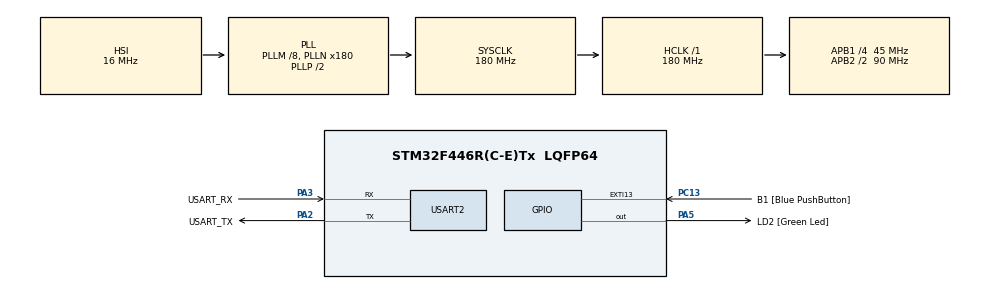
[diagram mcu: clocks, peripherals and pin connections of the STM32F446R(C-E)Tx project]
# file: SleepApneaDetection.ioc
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Mcu.Family=STM32F4
Mcu.Name=STM32F446R(C-E)Tx
Mcu.Package=LQFP64
NVIC.PriorityGroup=NVIC_PRIORITYGROUP_0
PA13.GPIO_Label=TMS
PA13.Mode=Serial_Wire
PA13.Signal=SYS_JTMS-SWDIO
PA14.GPIO_Label=TCK
PA14.Mode=Serial_Wire
PA14.Signal=SYS_JTCK-SWCLK
PA2.GPIO_Label=USART_TX
PA2.Mode=Asynchronous
PA2.Signal=USART2_TX
PA3.GPIO_Label=USART_RX
PA3.Mode=Asynchronous
PA3.Signal=USART2_RX
PA5.GPIO_Label=LD2 [Green Led]
PA5.Signal=GPIO_Output
PB3.GPIO_Label=SWO
PB3.Signal=SYS_JTDO-SWO
PC13.GPIO_Label=B1 [Blue PushButton]
PC13.GPIO_ModeDefaultEXTI=GPIO_MODE_IT_FALLING
PC13.Signal=GPXTI13
PC14-OSC32_IN.Mode=LSE-External-Oscillator
PC14-OSC32_IN.Signal=RCC_OSC32_IN
PC15-OSC32_OUT.Mode=LSE-External-Oscillator
PC15-OSC32_OUT.Signal=RCC_OSC32_OUT
PH0-OSC_IN.Mode=HSE-External-Oscillator
PH0-OSC_IN.Signal=RCC_OSC_IN
PH1-OSC_OUT.Mode=HSE-External-Oscillator
PH1-OSC_OUT.Signal=RCC_OSC_OUT
ProjectManager.HeapSize=0x800
ProjectManager.StackSize=0x800
ProjectManager.TargetToolchain=STM32CubeIDE
RCC.48MHZClocksFreq_Value=84000000
RCC.AHBFreq_Value=180000000
RCC.APB1CLKDivider=RCC_HCLK_DIV4
RCC.APB1Freq_Value=45000000
RCC.APB1TimFreq_Value=90000000
RCC.APB2CLKDivider=RCC_HCLK_DIV2
RCC.APB2Freq_Value=90000000
RCC.APB2TimFreq_Value=180000000
RCC.CortexFreq_Value=180000000
RCC.FLatency-AdvancedSettings=FLASH_LATENCY_5
RCC.HCLKFreq_Value=180000000
RCC.HSE_VALUE=8000000
RCC.HSI_VALUE=16000000
RCC.PLLM=8
RCC.PLLN=180
RCC.PLLP=2
RCC.SYSCLKFreq_VALUE=180000000
RCC.SYSCLKSource=RCC_SYSCLKSOURCE_PLLCLK
RCC.USBFreq_Value=180000000
RCC.VCOOutputFreq_Value=360000000
STMicroelectronics.X-CUBE-AI.10.2.0.ActivationBufferSizeList=51952
STMicroelectronics.X-CUBE-AI.10.2.0.ActivationBuffers=pool0
STMicroelectronics.X-CUBE-AI.10.2.0.ActivationNames=pool0
STMicroelectronics.X-CUBE-AI.10.2.0.ActivationSizes=AI_NETWORK_DATA_ACTIVATION_1_SIZE
STMicroelectronics.X-CUBE-AI.10.2.0.ApplicationCcDeviceJjApplication=SystemPerformance
STMicroelectronics.X-CUBE-AI.10.2.0.BSP.number=1
STMicroelectronics.X-CUBE-AI.10.2.0.HeapSize=0x800
STMicroelectronics.X-CUBE-AI.10.2.0.InternalRamActivationBufferMaxSize=AI_NETWORK_DATA_ACTIVATIONS_SIZE
STMicroelectronics.X-CUBE-AI.10.2.0.LatestDirectoryUsed-46ed0ca420dc52d179453e09e3f3c390de40700d0b52739a6311d1eca2d4f00f=E\:\\EmbeddedWork\\saved_models
STMicroelectronics.X-CUBE-AI.10.2.0.MaximumNumberOfInputLayer=1
STMicroelectronics.X-CUBE-AI.10.2.0.MaximumNumberOfOutputLayer=1
STMicroelectronics.X-CUBE-AI.10.2.0.MaximumSizeOfInputLayer=1
STMicroelectronics.X-CUBE-AI.10.2.0.MaximumSizeOfOutputLayer=1
STMicroelectronics.X-CUBE-AI.10.2.0.ModelActualCompression-46ed0ca420dc52d179453e09e3f3c390de40700d0b52739a6311d1eca2d4f00f=0.0
STMicroelectronics.X-CUBE-AI.10.2.0.ModelCompression-46ed0ca420dc52d179453e09e3f3c390de40700d0b52739a6311d1eca2d4f00f=None
STMicroelectronics.X-CUBE-AI.10.2.0.ModelFlashOccupation-46ed0ca420dc52d179453e09e3f3c390de40700d0b52739a6311d1eca2d4f00f=32284
STMicroelectronics.X-CUBE-AI.10.2.0.ModelHashList=46ed0ca420dc52d179453e09e3f3c390de40700d0b52739a6311d1eca2d4f00f
STMicroelectronics.X-CUBE-AI.10.2.0.ModelKind-46ed0ca420dc52d179453e09e3f3c390de40700d0b52739a6311d1eca2d4f00f=KERAS
STMicroelectronics.X-CUBE-AI.10.2.0.ModelMacc-46ed0ca420dc52d179453e09e3f3c390de40700d0b52739a6311d1eca2d4f00f=1021987
STMicroelectronics.X-CUBE-AI.10.2.0.ModelName-46ed0ca420dc52d179453e09e3f3c390de40700d0b52739a6311d1eca2d4f00f=network
STMicroelectronics.X-CUBE-AI.10.2.0.ModelNameList=network
STMicroelectronics.X-CUBE-AI.10.2.0.ModelRamOccupation-46ed0ca420dc52d179453e09e3f3c390de40700d0b52739a6311d1eca2d4f00f=51952
STMicroelectronics.X-CUBE-AI.10.2.0.ModelStructureFile-46ed0ca420dc52d179453e09e3f3c390de40700d0b52739a6311d1eca2d4f00f=E\:\\EmbeddedWork\\saved_models\\apnea_cnn_small.h5
STMicroelectronics.X-CUBE-AI.10.2.0.ModelType-46ed0ca420dc52d179453e09e3f3c390de40700d0b52739a6311d1eca2d4f00f=STM32Cube.AI MCU runtime
STMicroelectronics.X-CUBE-AI.10.2.0.ReadyForCodeGeneration=true
STMicroelectronics.X-CUBE-AI.10.2.0.StackSize=0x800
STMicroelectronics.X-CUBE-AI.10.2.0.WorkingBufferStartAddrList=0xFFFFFFFF
STMicroelectronics.X-CUBE-AI.10.2.0.XAaCUBEAaAICcArtificialOoIntelligenceJjCore=true
STMicroelectronics.X-CUBE-AI.10.2.0.copyWeightToRam=false
STMicroelectronics.X-CUBE-AI.10.2.0.copyWeightToRam-46ed0ca420dc52d179453e09e3f3c390de40700d0b52739a6311d1eca2d4f00f=false
STMicroelectronics.X-CUBE-AI.10.2.0.customLayerConfigEnabled=false
STMicroelectronics.X-CUBE-AI.10.2.0.customLayerConfigEnabled-46ed0ca420dc52d179453e09e3f3c390de40700d0b52739a6311d1eca2d4f00f=false
STMicroelectronics.X-CUBE-AI.10.2.0.noOnnxIoTranspose=false
STMicroelectronics.X-CUBE-AI.10.2.0.noOnnxIoTranspose-46ed0ca420dc52d179453e09e3f3c390de40700d0b52739a6311d1eca2d4f00f=false
STMicroelectronics.X-CUBE-AI.10.2.0.useInputAllocation=true
STMicroelectronics.X-CUBE-AI.10.2.0.useInputAllocation-46ed0ca420dc52d179453e09e3f3c390de40700d0b52739a6311d1eca2d4f00f=true
STMicroelectronics.X-CUBE-AI.10.2.0.useOutputAllocation=true
STMicroelectronics.X-CUBE-AI.10.2.0.useOutputAllocation-46ed0ca420dc52d179453e09e3f3c390de40700d0b52739a6311d1eca2d4f00f=true
STMicroelectronics.X-CUBE-AI.10.2.00.BSP.STBoard=false
STMicroelectronics.X-CUBE-AI.10.2.00.BSP.api=Unknown
STMicroelectronics.X-CUBE-AI.10.2.00.BSP.condition=\!SEMDeviceJjApplicationJjApplicationTemplate
STMicroelectronics.X-CUBE-AI.10.2.00.BSP.instance=USART2
STMicroelectronics.X-CUBE-AI.10.2.00.BSP.ip=USART
STMicroelectronics.X-CUBE-AI.10.2.00.BSP.mode=Asynchronous
STMicroelectronics.X-CUBE-AI.10.2.00.BSP.name=COM Port
STMicroelectronics.X-CUBE-AI.10.2.00.BSP.solution=USART2
USART2.VirtualMode=VM_ASYNC
VP_STMicroelectronics.X-CUBE-AI_VS_ArtificialOoIntelligenceJjXAaCUBEAaAI_10.2.0.Mode=ArtificialOoIntelligenceJjXAaCUBEAaAI
VP_STMicroelectronics.X-CUBE-AI_VS_DeviceJjApplication_10.2.0.Mode=DeviceJjApplication
board=NUCLEO-F446RE

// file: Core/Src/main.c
/* USER CODE BEGIN Header */
/**
  ******************************************************************************
  * @file           : main.c
  * @brief          : Sleep Apnea Detection Inference Loop
  ******************************************************************************
  */
/* USER CODE END Header */
#include "main.h"
#include "app_x-cube-ai.h"
#include <stdlib.h> // Required for atof()
/* USER CODE BEGIN Includes */
#include "apnea_ai.h"
#include "network.h"
#include "one_window.h"
#include <stdio.h>
#include <string.h>
/* USER CODE END Includes */

UART_HandleTypeDef huart2;

/* USER CODE BEGIN PV */
/* AI input buffer */
static float ecg_buf[AI_NETWORK_IN_1_SIZE];
/* USER CODE END PV */

void SystemClock_Config(void);
static void MX_GPIO_Init(void);
void MX_USART2_UART_Init(void);

/* USER CODE BEGIN 0 */
// Helper to read one float number from UART (ends with \n)
float get_sample_from_uart(UART_HandleTypeDef *huart) {
    char rx_buffer[32];
    uint8_t rx_byte;
    int idx = 0;

    while (1) {
        // Read 1 byte at a time
        if (HAL_UART_Receive(huart, &rx_byte, 1, HAL_MAX_DELAY) == HAL_OK) {
            // If we hit a newline, we have the full number
            if (rx_byte == '\n' || rx_byte == '\r') {
                if (idx > 0) { // Only break if we actually have data
                    rx_buffer[idx] = '\0';
                    break;
                }
            }
            else {
                // Keep adding to buffer if it fits
                if (idx < 31) {
                    rx_buffer[idx++] = (char)rx_byte;
                }
            }
        }
    }
    // Convert string "-1.234" to float
    return (float)atof(rx_buffer);
}
/* USER CODE END 0 */
/* Local UART print helper */
static void uart_print(const char *msg)
{
    HAL_UART_Transmit(&huart2, (uint8_t*)msg, strlen(msg), HAL_MAX_DELAY);
}

static void uart_print_prob(float p)
{
    char buf[64];
    int n = snprintf(buf, sizeof(buf), "Apnea Prob: %.4f\r\n", p);
    HAL_UART_Transmit(&huart2, (uint8_t*)buf, n, HAL_MAX_DELAY);
}
/* USER CODE END 0 */

int main(void)
{

  /* MCU Configuration--------------------------------------------------------*/

  /* Reset of all peripherals, Initializes the Flash interface and the Systick. */
  HAL_Init();

  /* Configure the system clock */
  SystemClock_Config();

  /* Initialize all configured peripherals */
  MX_GPIO_Init();
  MX_USART2_UART_Init();

  /* NOTE: We skip MX_X_CUBE_AI_Init() because we use our own apnea_ai_init() wrapper.
     If you use the official Init, ensure you don't double-initialize.
     For this demo, we use your custom wrapper logic. */

  /* USER CODE BEGIN 2 */
  /* *** INIT OUR AI WRAPPER *** */
  if (!apnea_ai_init()) {
      uart_print("apnea_ai_init FAILED\r\n");
      Error_Handler();
  }

  uart_print("=== Sleep Apnea Detection Started ===\r\n");
  /* USER CODE END 2 */

  /* Infinite loop */
  /* USER CODE BEGIN WHILE */
  while (1)
      {
          uart_print("\r\n=== READY FOR HIL DATA ===\r\n");

          // 1. Fill buffer
          for (int i = 0; i < AI_NETWORK_IN_1_SIZE; i++) {
              ecg_buf[i] = get_sample_from_uart(&huart2);
              if (i % 500 == 0) HAL_GPIO_TogglePin(LD2_GPIO_Port, LD2_Pin);
          }

          // 2. Run Inference
          float prob = apnea_ai_predict(ecg_buf, AI_NETWORK_IN_1_SIZE);

          // 3. Report
          char msg[64];
          snprintf(msg, sizeof(msg), "HIL Result: %.7f\r\n", prob);
          uart_print(msg);

          HAL_Delay(100); // Small delay before next window
      }
    /* USER CODE END 3 */
}

void SystemClock_Config(void)
{
  RCC_OscInitTypeDef RCC_OscInitStruct = {0};
  RCC_ClkInitTypeDef RCC_ClkInitStruct = {0};

  /** Configure the main internal regulator output voltage
  */
  __HAL_RCC_PWR_CLK_ENABLE();
  __HAL_PWR_VOLTAGESCALING_CONFIG(PWR_REGULATOR_VOLTAGE_SCALE1);

  /** Initializes the RCC Oscillators according to the specified parameters
  * in the RCC_OscInitTypeDef structure.
  */
  RCC_OscInitStruct.OscillatorType = RCC_OSCILLATORTYPE_HSI;
  RCC_OscInitStruct.HSIState = RCC_HSI_ON;
  RCC_OscInitStruct.HSICalibrationValue = RCC_HSICALIBRATION_DEFAULT;
  RCC_OscInitStruct.PLL.PLLState = RCC_PLL_ON;
  RCC_OscInitStruct.PLL.PLLSource = RCC_PLLSOURCE_HSI;
  RCC_OscInitStruct.PLL.PLLM = 8;
  RCC_OscInitStruct.PLL.PLLN = 180;
  RCC_OscInitStruct.PLL.PLLP = 2;
  RCC_OscInitStruct.PLL.PLLQ = 2;
  RCC_OscInitStruct.PLL.PLLR = 2;
  if (HAL_RCC_OscConfig(&RCC_OscInitStruct) != HAL_OK)
  {
    Error_Handler();
  }

  /** Activate the Over-Drive mode
  */
  if (HAL_PWREx_EnableOverDrive() != HAL_OK)
  {
    Error_Handler();
  }

  /** Initializes the CPU, AHB and APB buses clocks
  */
  RCC_ClkInitStruct.ClockType = RCC_CLOCKTYPE_HCLK|RCC_CLOCKTYPE_SYSCLK
                              |RCC_CLOCKTYPE_PCLK1|RCC_CLOCKTYPE_PCLK2;
  RCC_ClkInitStruct.SYSCLKSource = RCC_SYSCLKSOURCE_PLLCLK;
  RCC_ClkInitStruct.AHBCLKDivider = RCC_SYSCLK_DIV1;
  RCC_ClkInitStruct.APB1CLKDivider = RCC_HCLK_DIV4;
  RCC_ClkInitStruct.APB2CLKDivider = RCC_HCLK_DIV2;

  if (HAL_RCC_ClockConfig(&RCC_ClkInitStruct, FLASH_LATENCY_5) != HAL_OK)
  {
    Error_Handler();
  }
}

void MX_USART2_UART_Init(void)
{
  huart2.Instance = USART2;
  huart2.Init.BaudRate = 115200;
  huart2.Init.WordLength = UART_WORDLENGTH_8B;
  huart2.Init.StopBits = UART_STOPBITS_1;
  huart2.Init.Parity = UART_PARITY_NONE;
  huart2.Init.Mode = UART_MODE_TX_RX;
  huart2.Init.HwFlowCtl = UART_HWCONTROL_NONE;
  huart2.Init.OverSampling = UART_OVERSAMPLING_16;
  if (HAL_UART_Init(&huart2) != HAL_OK)
  {
    Error_Handler();
  }
}

static void MX_GPIO_Init(void)
{
  GPIO_InitTypeDef GPIO_InitStruct = {0};

  /* GPIO Ports Clock Enable */
  __HAL_RCC_GPIOC_CLK_ENABLE();
  __HAL_RCC_GPIOH_CLK_ENABLE();
  __HAL_RCC_GPIOA_CLK_ENABLE();
  __HAL_RCC_GPIOB_CLK_ENABLE();

  /*Configure GPIO pin Output Level */
  HAL_GPIO_WritePin(LD2_GPIO_Port, LD2_Pin, GPIO_PIN_RESET);

  /*Configure GPIO pin : B1_Pin */
  GPIO_InitStruct.Pin = B1_Pin;
  GPIO_InitStruct.Mode = GPIO_MODE_IT_FALLING;
  GPIO_InitStruct.Pull = GPIO_NOPULL;
  HAL_GPIO_Init(B1_GPIO_Port, &GPIO_InitStruct);

  /*Configure GPIO pin : LD2_Pin */
  GPIO_InitStruct.Pin = LD2_Pin;
  GPIO_InitStruct.Mode = GPIO_MODE_OUTPUT_PP;
  GPIO_InitStruct.Pull = GPIO_NOPULL;
  GPIO_InitStruct.Speed = GPIO_SPEED_FREQ_LOW;
  HAL_GPIO_Init(LD2_GPIO_Port, &GPIO_InitStruct);
}

void Error_Handler(void)
{
  __disable_irq();
  while (1)
  {
      // Optional: fast blink for error
      HAL_GPIO_TogglePin(LD2_GPIO_Port, LD2_Pin);
      HAL_Delay(100);
  }
}
